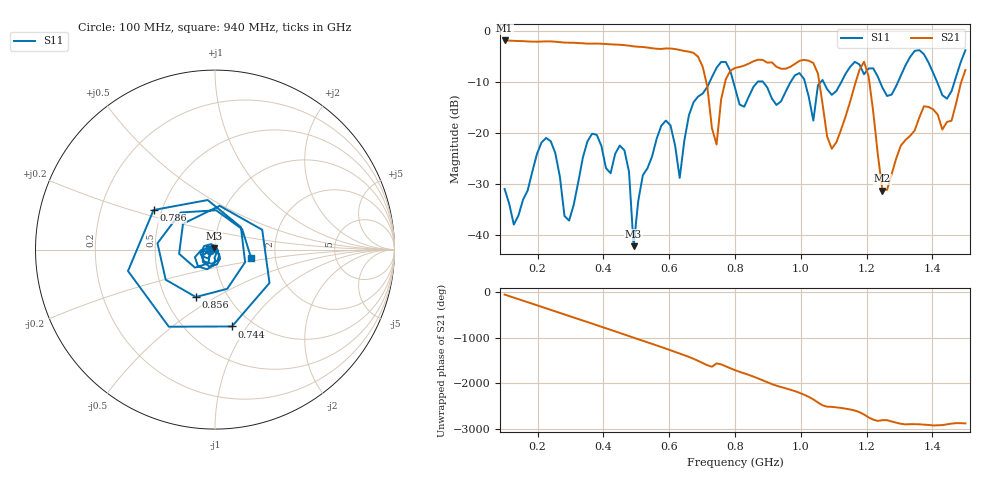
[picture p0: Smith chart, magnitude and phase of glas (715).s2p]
! NanoVNA-App
! Date: 2025-09-25 16:01:02
! Start: 100MHz Stop: 1,5GHz Points: 101
! S-Parameter data: F S11 S21 S12 S22
# Hz S RI R 50
!  Frequency  S11_Real  S11_Imag  S21_Real  S21_Imag  S12_Real  S12_Imag  S22_Real  S22_Imag
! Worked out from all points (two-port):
!   101 points, 100 MHz to 1.5 GHz, reference 50 ohm
!   highest |S21| = -1.80 dB at 100 MHz (marker M1); lowest = -31.2 dB at 1.248 GHz (marker M2)
!   |S21| within 3 dB of the highest: start of sweep to 684.4 MHz
!   lowest |S11| = -42.1 dB at 492 MHz (marker M3), VSWR 1.02, Z = 49.5 + j0.613 ohm
!   |S11| at or under -10 dB: start of sweep to 722.5 MHz; 795.4 MHz to 868 MHz (72.59 MHz wide, 8.73 % of centre); 886 MHz to 968.4 MHz (82.43 MHz wide, 8.89 % of centre) (the widest 3 of 7)
!   S12 and S22 are empty: the file has one direction only
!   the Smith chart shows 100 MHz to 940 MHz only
!   S11 on the Smith chart (normalised r, x): 100 MHz: 0.94, -0.01; 744 MHz: 0.80, -0.85; 786 MHz: 0.45, +0.24; 856 MHz: 0.71, -0.41; 940 MHz: 1.49, -0.14
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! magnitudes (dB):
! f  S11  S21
! 100 MHz  -30.9  -1.8
! 128 MHz  -37.9  -1.9
! 226 MHz  -20.9  -2.0
! 296 MHz  -37.1  -2.2
! 338 MHz  -24.7  -2.4
! 464 MHz  -23.3  -2.7
! 492 MHz  -42.1  -3.0
! 576 MHz  -18.5  -3.5
! 632 MHz  -28.8  -3.7
! 702 MHz  -12.2  -7.0
! 744 MHz  -7.2  -22.2
! 786 MHz  -7.8  -7.7
! 800 MHz  -11.1  -7.2
! 856 MHz  -10.9  -5.9
! 940 MHz  -13.7  -7.4
! 996 MHz  -8.2  -5.8
! 1.038 GHz  -17.5  -6.2
! 1.094 GHz  -12.5  -23.0
! 1.192 GHz  -8.4  -6.0
! 1.248 GHz  -11.1  -31.2
! 1.276 GHz  -12.4  -28.0
! 1.5 GHz  -3.7  -7.6
